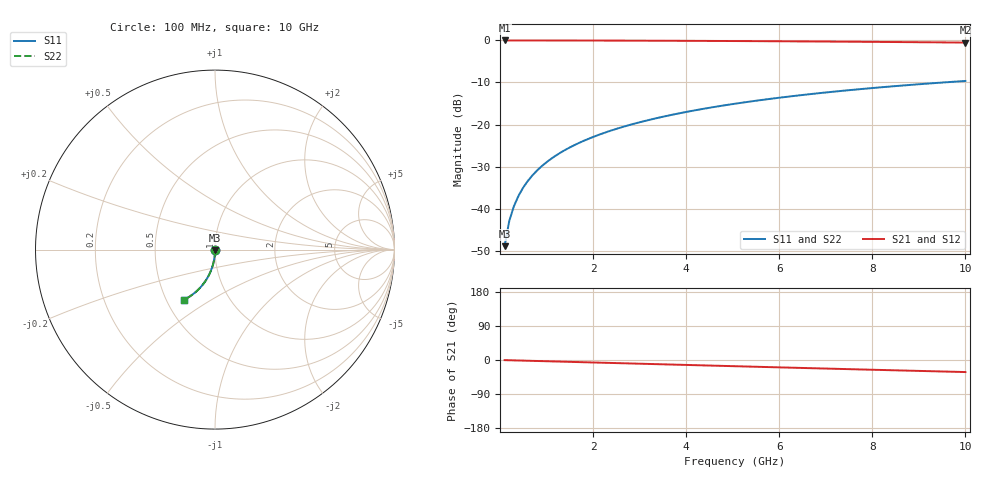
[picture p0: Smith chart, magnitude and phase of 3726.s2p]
# Hz S RI R 50.00
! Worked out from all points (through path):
!   100 points, 100 MHz to 10 GHz, reference 50 ohm
!   highest |S21| = 0.00 dB at 100 MHz (marker M1); lowest = -0.5 dB at 10 GHz (marker M2)
!   group delay of S21, straight-line fit = 8.86 ps
!   lowest |S11| = -48.9 dB at 100 MHz (marker M3), VSWR 1.01, Z = 50 - j0.356 ohm
!   |S11| at or under -10 dB: start of sweep to 9.524 GHz
!   |S22| runs from -48.9 to -9.6 dB; largest |S21 - S12| = 0
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1e8  0.000265 -0.00356  0.9997 -0.00569  0.9997 -0.00569  0.000265 -0.00356
2e8  0.000202 -0.00712  0.9996 -0.0114  0.9996 -0.0114  0.000202 -0.00712
3e8  9.79e-05 -0.0107  0.9995 -0.0171  0.9995 -0.0171  9.79e-05 -0.0107
4e8  -4.71e-05 -0.0142  0.9993 -0.0227  0.9993 -0.0227  -4.71e-05 -0.0142
5e8  -0.000233 -0.0178  0.9991 -0.0284  0.9991 -0.0284  -0.000233 -0.0178
6e8  -0.000459 -0.0213  0.9989 -0.0341  0.9989 -0.0341  -0.000459 -0.0213
7e8  -0.000726 -0.0249  0.9986 -0.0398  0.9986 -0.0398  -0.000726 -0.0249
8e8  -0.00103 -0.0285  0.9982 -0.0455  0.9982 -0.0455  -0.00103 -0.0285
9e8  -0.00138 -0.032  0.9978 -0.0511  0.9978 -0.0511  -0.00138 -0.032
1.1e9  -0.0022 -0.0391  0.9969 -0.0625  0.9969 -0.0625  -0.0022 -0.0391
1.4e9  -0.00372 -0.0497  0.9952 -0.0794  0.9952 -0.0794  -0.00372 -0.0497
1.8e9  -0.00632 -0.0637  0.9923 -0.102  0.9923 -0.102  -0.00632 -0.0637
2.1e9  -0.00868 -0.0741  0.9897 -0.1188  0.9897 -0.1188  -0.00868 -0.0741
2.5e9  -0.0124 -0.0878  0.9856 -0.1411  0.9856 -0.1411  -0.0124 -0.0878
2.9e9  -0.0167 -0.1014  0.9808 -0.1632  0.9808 -0.1632  -0.0167 -0.1014
3.4e9  -0.0229 -0.118  0.9738 -0.1905  0.9738 -0.1905  -0.0229 -0.118
4.2e9  -0.0348 -0.1437  0.9605 -0.2334  0.9605 -0.2334  -0.0348 -0.1437
5.1e9  -0.0507 -0.171  0.9426 -0.2802  0.9426 -0.2802  -0.0507 -0.171
5.9e9  -0.067 -0.1937  0.9243 -0.3202  0.9243 -0.3202  -0.067 -0.1937
6.7e9  -0.0851 -0.2146  0.9038 -0.3586  0.9038 -0.3586  -0.0851 -0.2146
8.4e9  -0.1285 -0.2527  0.8543 -0.4341  0.8543 -0.4341  -0.1285 -0.2527
1e10  -0.1737 -0.2801  0.8017 -0.4971  0.8017 -0.4971  -0.1737 -0.2801
